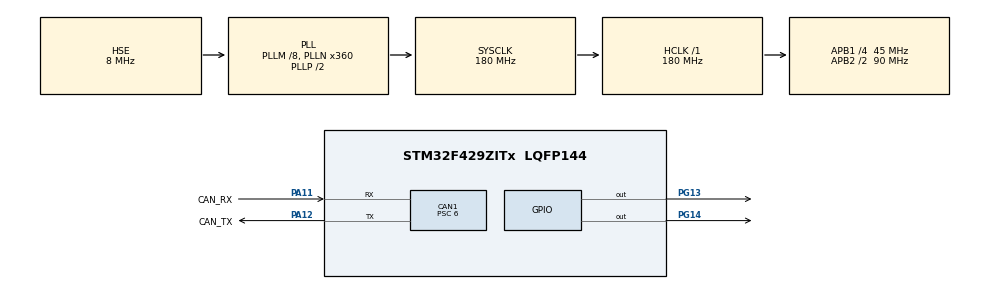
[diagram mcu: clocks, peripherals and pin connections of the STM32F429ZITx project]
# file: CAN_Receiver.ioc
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CAN1.BS1=CAN_BS1_1TQ
CAN1.BS2=CAN_BS2_1TQ
CAN1.CalculateBaudRate=2500000
CAN1.CalculateTimeBit=399
CAN1.CalculateTimeQuantum=133.33333333333331
CAN1.Prescaler=6
Mcu.Family=STM32F4
Mcu.Name=STM32F429ZITx
Mcu.Package=LQFP144
NVIC.CAN1_RX0_IRQn=true\:0\:0\:false\:false\:true\:true\:true\:true
NVIC.CAN1_RX1_IRQn=true\:0\:0\:false\:false\:true\:true\:true\:true
NVIC.CAN1_TX_IRQn=true\:0\:0\:false\:false\:true\:true\:true\:true
NVIC.PriorityGroup=NVIC_PRIORITYGROUP_0
PA11.GPIO_Label=CAN_RX
PA11.Mode=CAN_Activate
PA11.Signal=CAN1_RX
PA12.GPIO_Label=CAN_TX
PA12.Mode=CAN_Activate
PA12.Signal=CAN1_TX
PG13.Signal=GPIO_Output
PG14.Signal=GPIO_Output
PH0/OSC_IN.Mode=HSE-External-Oscillator
PH0/OSC_IN.Signal=RCC_OSC_IN
PH1/OSC_OUT.Mode=HSE-External-Oscillator
PH1/OSC_OUT.Signal=RCC_OSC_OUT
ProjectManager.HeapSize=0x200
ProjectManager.StackSize=0x400
ProjectManager.TargetToolchain=STM32CubeIDE
RCC.48MHZClocksFreq_Value=51428571.428571425
RCC.AHBFreq_Value=180000000
RCC.APB1CLKDivider=RCC_HCLK_DIV4
RCC.APB1Freq_Value=45000000
RCC.APB1TimFreq_Value=90000000
RCC.APB2CLKDivider=RCC_HCLK_DIV2
RCC.APB2Freq_Value=90000000
RCC.APB2TimFreq_Value=180000000
RCC.CortexFreq_Value=180000000
RCC.HCLKFreq_Value=180000000
RCC.HSE_VALUE=8000000
RCC.HSI_VALUE=16000000
RCC.LSE_VALUE=32768
RCC.PLLM=8
RCC.PLLN=360
RCC.PLLQ=7
RCC.PLLSourceVirtual=RCC_PLLSOURCE_HSE
RCC.SYSCLKFreq_VALUE=180000000
RCC.SYSCLKSource=RCC_SYSCLKSOURCE_PLLCLK
RCC.VCOOutputFreq_Value=360000000
board=STM32F429I-DISC1

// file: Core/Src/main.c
/* USER CODE BEGIN Header */
/**
  ******************************************************************************
  * @file           : main.c
  * @brief          : Main program body
  ******************************************************************************
  * @attention
  *
  * Copyright (c) 2024 STMicroelectronics.
  * All rights reserved.
  *
  * This software is licensed under terms that can be found in the LICENSE file
  * in the root directory of this software component.
  * If no LICENSE file comes with this software, it is provided AS-IS.
  *
  ******************************************************************************
  */
/* USER CODE END Header */
#include "main.h"

CAN_HandleTypeDef hcan1;

void SystemClock_Config(void);
static void MX_GPIO_Init(void);
static void MX_CAN1_Init(void);

int main(void)
{

  /* MCU Configuration--------------------------------------------------------*/

  /* Reset of all peripherals, Initializes the Flash interface and the Systick. */
  HAL_Init();

  /* Configure the system clock */
  SystemClock_Config();

  /* Initialize all configured peripherals */
  MX_GPIO_Init();
  MX_CAN1_Init();
  /* USER CODE BEGIN 2 */
CAN_RxHeaderTypeDef RxHeader;
uint8_t RxData[8];

if(HAL_CAN_Start(&hcan1) != HAL_OK)
{
	Error_Handler();
}

if(HAL_CAN_ActivateNotification(&hcan1, CAN_IT_RX_FIFO0_MSG_PENDING) != HAL_OK)
{
	Error_Handler();
}
  /* USER CODE END 2 */

  /* Infinite loop */
  while (1)
  {

  }
}

void SystemClock_Config(void)
{
  RCC_OscInitTypeDef RCC_OscInitStruct = {0};
  RCC_ClkInitTypeDef RCC_ClkInitStruct = {0};

  /** Configure the main internal regulator output voltage
  */
  __HAL_RCC_PWR_CLK_ENABLE();
  __HAL_PWR_VOLTAGESCALING_CONFIG(PWR_REGULATOR_VOLTAGE_SCALE1);

  /** Initializes the RCC Oscillators according to the specified parameters
  * in the RCC_OscInitTypeDef structure.
  */
  RCC_OscInitStruct.OscillatorType = RCC_OSCILLATORTYPE_HSE;
  RCC_OscInitStruct.HSEState = RCC_HSE_ON;
  RCC_OscInitStruct.PLL.PLLState = RCC_PLL_ON;
  RCC_OscInitStruct.PLL.PLLSource = RCC_PLLSOURCE_HSE;
  RCC_OscInitStruct.PLL.PLLM = 8;
  RCC_OscInitStruct.PLL.PLLN = 360;
  RCC_OscInitStruct.PLL.PLLP = RCC_PLLP_DIV2;
  RCC_OscInitStruct.PLL.PLLQ = 7;
  if (HAL_RCC_OscConfig(&RCC_OscInitStruct) != HAL_OK)
  {
    Error_Handler();
  }

  /** Activate the Over-Drive mode
  */
  if (HAL_PWREx_EnableOverDrive() != HAL_OK)
  {
    Error_Handler();
  }

  /** Initializes the CPU, AHB and APB buses clocks
  */
  RCC_ClkInitStruct.ClockType = RCC_CLOCKTYPE_HCLK|RCC_CLOCKTYPE_SYSCLK
                              |RCC_CLOCKTYPE_PCLK1|RCC_CLOCKTYPE_PCLK2;
  RCC_ClkInitStruct.SYSCLKSource = RCC_SYSCLKSOURCE_PLLCLK;
  RCC_ClkInitStruct.AHBCLKDivider = RCC_SYSCLK_DIV1;
  RCC_ClkInitStruct.APB1CLKDivider = RCC_HCLK_DIV4;
  RCC_ClkInitStruct.APB2CLKDivider = RCC_HCLK_DIV2;

  if (HAL_RCC_ClockConfig(&RCC_ClkInitStruct, FLASH_LATENCY_5) != HAL_OK)
  {
    Error_Handler();
  }
}

static void MX_CAN1_Init(void)
{

  hcan1.Instance = CAN1;
  hcan1.Init.Prescaler = 6;
  hcan1.Init.Mode = CAN_MODE_NORMAL;
  hcan1.Init.SyncJumpWidth = CAN_SJW_1TQ;
  hcan1.Init.TimeSeg1 = CAN_BS1_1TQ;
  hcan1.Init.TimeSeg2 = CAN_BS2_1TQ;
  hcan1.Init.TimeTriggeredMode = DISABLE;
  hcan1.Init.AutoBusOff = DISABLE;
  hcan1.Init.AutoWakeUp = DISABLE;
  hcan1.Init.AutoRetransmission = DISABLE;
  hcan1.Init.ReceiveFifoLocked = DISABLE;
  hcan1.Init.TransmitFifoPriority = DISABLE;
  if (HAL_CAN_Init(&hcan1) != HAL_OK)
  {
    Error_Handler();
  }
  /* USER CODE BEGIN CAN1_Init 2 */
  CAN_FilterTypeDef sFilterConfig;
  sFilterConfig.FilterBank = 0;
  sFilterConfig.FilterMode = CAN_FILTERMODE_IDMASK;
  sFilterConfig.FilterScale = CAN_FILTERSCALE_32BIT;
  sFilterConfig.FilterIdHigh = 0x0000;
  sFilterConfig.FilterIdLow = 0x0000;
  sFilterConfig.FilterMaskIdHigh = 0x0000;
  sFilterConfig.FilterMaskIdLow = 0x0000;
  sFilterConfig.FilterFIFOAssignment = CAN_FILTER_FIFO0;
  sFilterConfig.FilterActivation = ENABLE;
  sFilterConfig.SlaveStartFilterBank = 14;
  if(HAL_CAN_ConfigFilter(&hcan1, &sFilterConfig) != HAL_OK)
  {
	  Error_Handler();
  }

  /* USER CODE END CAN1_Init 2 */

}

static void MX_GPIO_Init(void)
{
  GPIO_InitTypeDef GPIO_InitStruct = {0};

  /* GPIO Ports Clock Enable */
  __HAL_RCC_GPIOH_CLK_ENABLE();
  __HAL_RCC_GPIOA_CLK_ENABLE();
  __HAL_RCC_GPIOG_CLK_ENABLE();

  /*Configure GPIO pin Output Level */
  HAL_GPIO_WritePin(GPIOG, GPIO_PIN_13|GPIO_PIN_14, GPIO_PIN_RESET);

  /*Configure GPIO pins : PG13 PG14 */
  GPIO_InitStruct.Pin = GPIO_PIN_13|GPIO_PIN_14;
  GPIO_InitStruct.Mode = GPIO_MODE_OUTPUT_PP;
  GPIO_InitStruct.Pull = GPIO_NOPULL;
  GPIO_InitStruct.Speed = GPIO_SPEED_FREQ_LOW;
  HAL_GPIO_Init(GPIOG, &GPIO_InitStruct);

}

/* USER CODE BEGIN 4 */
void HAL_CAN_RxFifo0MsgPendingCallback(CAN_HandleTypeDef *hcan)
{
	CAN_RxHeaderTypeDef RxHeader;
	uint8_t RxData[8];

	if(HAL_CAN_GetRxMessage(hcan, CAN_RX_FIFO0, &RxHeader, RxData) != HAL_OK)
	{
		Error_Handler();
	}
	HAL_GPIO_TogglePin(GPIOG,GPIO_PIN_14);
}
/* USER CODE END 4 */

void Error_Handler(void)
{
  __disable_irq();
  while (1)
  {
  }
}
